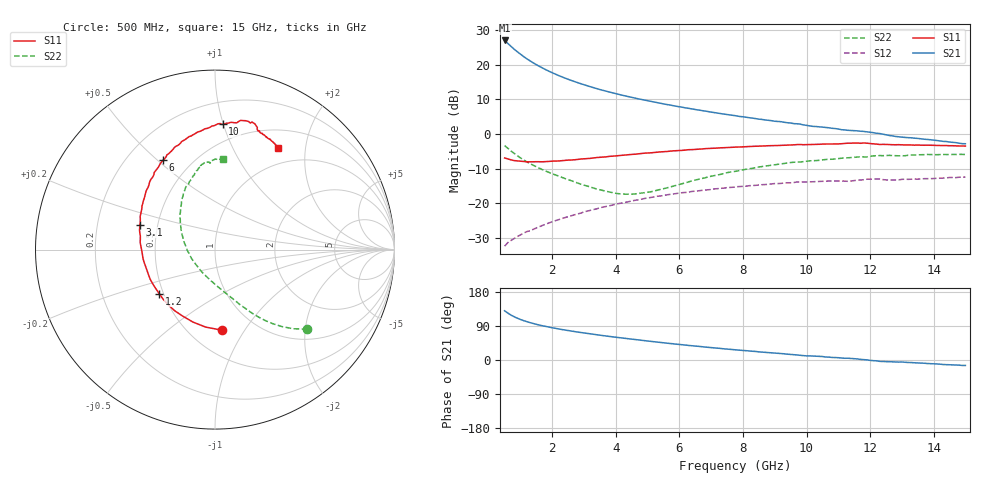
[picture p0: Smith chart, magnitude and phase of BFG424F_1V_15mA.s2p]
! Filename BFG424F_1V_15mA.prm
! Simulation_Values
! Created	by	janssen	on	nov	2006
!	Column ranking S11, S21,S12,S22 both magnitude and phase.
!	VCE	=	1	V,	IC	=	15	mA
!	Common	Emitter	S-Parameters
#	GHZ	S	MA	R	50
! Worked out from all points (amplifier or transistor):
!   146 points, 500 MHz to 15 GHz, reference 50 ohm
!   highest |S21| = 27.0 dB at 500 MHz (marker M1)
!   |S21| within 3 dB of that: start of sweep to 865.5 MHz
!   unconditionally stable (mu >= 1): 1.703 GHz to end of sweep
!   at 2.9 GHz: K = 1.18, MAG = 16.1 dB, |S12| = -22.9 dB
!   at 7.8 GHz: K = 1.19, MAG = 7.6 dB, |S12| = -15.2 dB
!   at 15 GHz: K = 1.56, MAG = 0.4 dB, |S12| = -12.5 dB
!   S11 on the Smith chart (normalised r, x): 500 MHz: 0.71, -0.79; 1.2 GHz: 0.47, -0.28; 3.1 GHz: 0.40, +0.14; 6 GHz: 0.35, +0.52; 10 GHz: 0.36, +0.99; 15 GHz: 0.75, +1.53
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0.5  0.45 -85.3  22.29 130.0  0.024 61.7  0.679 -40.8
0.6  0.435 -96.8  20.17 123.9  0.027 58.9  0.62 -45.4
0.7  0.422 -106.9  18.32 118.7  0.029 58.0  0.568 -49.0
0.8  0.412 -115.8  16.7 114.2  0.031 57.2  0.523 -52.1
0.9  0.408 -123.5  15.31 110.4  0.033 56.6  0.484 -54.7
1  0.403 -130.2  14.11 106.9  0.035 56.4  0.45 -57.0
1.2  0.396 -141.7  12.11 101.1  0.039 56.9  0.395 -60.8
1.3  0.395 -146.8  11.3 98.6  0.04 57.1  0.372 -62.5
1.5  0.397 -155.5  9.958 94.1  0.044 57.7  0.335 -65.7
1.9  0.401 -169.7  7.994 86.7  0.052 59.2  0.278 -71.8
2.4  0.415 176.7  6.381 79.1  0.062 59.9  0.227 -80.6
3  0.437 163.7  5.112 71.3  0.075 60.0  0.182 -94.0
3.1  0.441 161.6  4.95 70.1  0.077 59.8  0.177 -96.7
3.6  0.463 152.5  4.239 64.3  0.088 59.2  0.152 -112.3
4.2  0.491 142.8  3.614 58.0  0.101 57.7  0.136 -135.7
5.4  0.55 127.1  2.772 46.3  0.127 53.1  0.158 178.1
6  0.576 120.2  2.467 41.0  0.14 50.6  0.187 161.5
7.8  0.646 102.9  1.819 26.8  0.173 42.9  0.29 131.4
10  0.699 86.5  1.326 10.9  0.203 32.2  0.404 110.7
10.2  0.704 85.3  1.283 10.5  0.204 31.5  0.411 109.1
12.6  0.701 69.3  0.949 -4.6  0.214 22.3  0.49 94.5
15  0.668 58.1  0.721 -14.4  0.237 15.7  0.505 84.8
